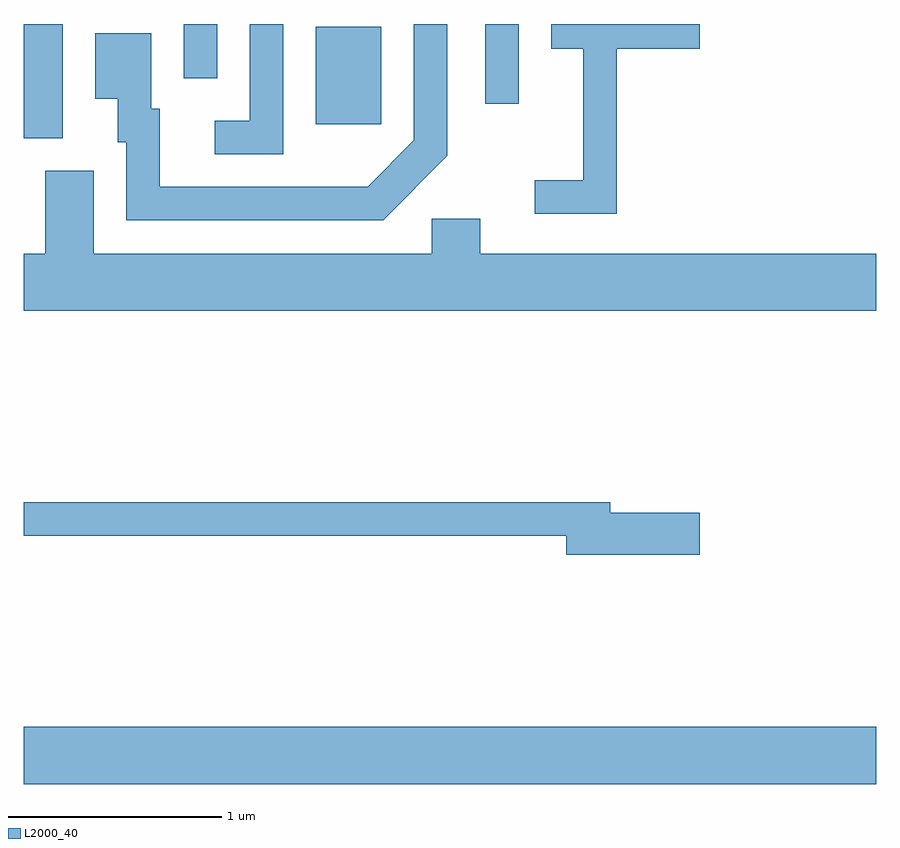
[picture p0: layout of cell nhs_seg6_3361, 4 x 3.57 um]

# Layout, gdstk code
import gdstk
lib = gdstk.Library(unit=1e-6, precision=1e-09)
def R(c, l, rs):  # rectangles x0, y0, x1, y1
    for r in rs: c.add(gdstk.rectangle(r[:2], r[2:], *l))
def P(c, l, *ps):  # polygons
    for p in ps: c.add(gdstk.Polygon(p, *l))
L2000_40 = (2000, 40)

nhs_seg6_3361 = lib.new_cell('nhs_seg6_3361')
R(nhs_seg6_3361, L2000_40, [(285.611,1656.596,289.611,1656.864), (285.611,1659.626,285.794,1660.162), (286.981,1659.691,287.289,1660.149), (287.776,1659.788,287.934,1660.162), (286.361,1659.908,286.519,1660.162)])
P(nhs_seg6_3361, L2000_40, [(286.829,1660.162),(286.671,1660.162),(286.671,1659.709),(286.508,1659.709),(286.508,1659.551),(286.829,1659.551)],
  [(288.394,1660.046),(288.784,1660.046),(288.784,1660.162),(288.086,1660.162),(288.086,1660.046),(288.236,1660.046),(288.236,1659.429),(288.008,1659.429),(288.008,1659.271),(288.394,1659.271)],
  [(287.599,1659.544),(287.599,1660.162),(287.441,1660.162),(287.441,1659.617),(287.224,1659.399),(286.249,1659.399),(286.249,1659.764),(286.209,1659.764),(286.209,1660.119),(285.946,1660.119),(285.946,1659.811),(286.051,1659.811),(286.051,1659.606),(286.091,1659.606),(286.091,1659.241),(287.297,1659.241)],
  [(289.611,1659.084),(287.754,1659.084),(287.754,1659.249),(287.526,1659.249),(287.526,1659.084),(285.939,1659.084),(285.939,1659.474),(285.711,1659.474),(285.711,1659.084),(285.611,1659.084),(285.611,1658.816),(289.611,1658.816)],
  [(288.784,1657.869),(288.364,1657.869),(288.364,1657.919),(285.611,1657.919),(285.611,1657.761),(288.156,1657.761),(288.156,1657.671),(288.784,1657.671)])

lib.write_gds('nhs_seg6_3361.gds')
